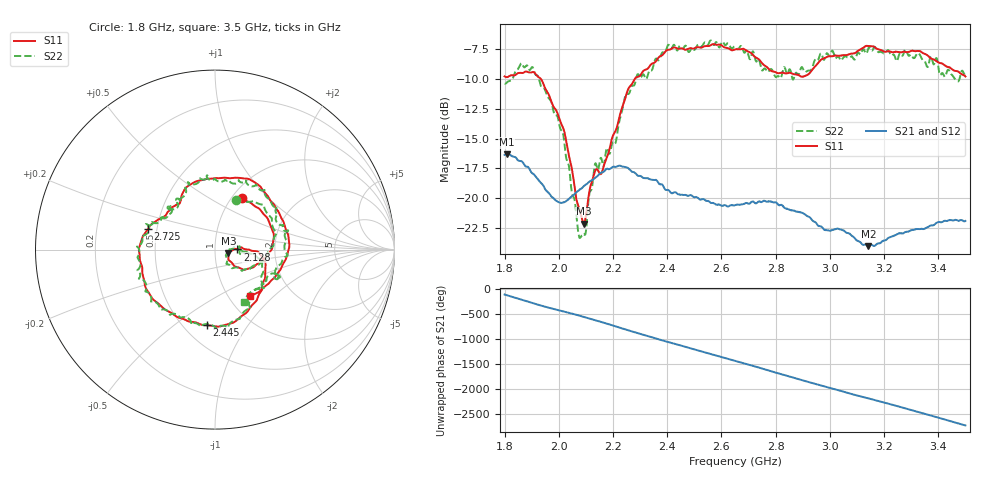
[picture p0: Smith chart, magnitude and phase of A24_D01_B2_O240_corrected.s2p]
! Created with skrf 1.9.0 (http://scikit-rf.org).
# Hz S RI R 50.0
!freq ReS11 ImS11 ReS21 ImS21 ReS12 ImS12 ReS22 ImS22
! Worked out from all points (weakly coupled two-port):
!   1601 points, 1.8 GHz to 3.5 GHz, reference 50 ohm
!   highest |S21| = -16.34 dB at 1.808 GHz (marker M1); lowest = -24.0 dB at 3.142 GHz (marker M2)
!   lowest |S11| = -22.2 dB at 2.092 GHz (marker M3), VSWR 1.17, Z = 58 - j2.51 ohm
!   |S11| at or under -10 dB: 1.934 GHz to 2.28 GHz (345.9 MHz wide, 16.4 % of centre)
!   |S22| runs from -23.4 to -6.8 dB; largest |S21 - S12| = 0.003
!   S11 on the Smith chart (normalised r, x): 1.8 GHz: 1.11, +0.71; 2.128 GHz: 1.28, +0.00; 2.445 GHz: 0.65, -0.67; 2.725 GHz: 0.45, +0.12; 3.5 GHz: 1.25, -0.72
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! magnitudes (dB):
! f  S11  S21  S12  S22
! 1.8 GHz  -9.8  -16.4  -16.4  -10.4
! 1.808 GHz  -9.8  -16.3  -16.4  -10.3
! 1.901 GHz  -9.4  -17.9  -17.8  -9.0
! 1.967 GHz  -11.5  -19.7  -19.8  -11.7
! 2.014 GHz  -14.0  -20.4  -20.4  -14.4
! 2.072 GHz  -20.7  -19.4  -19.4  -22.9
! 2.084 GHz  -21.6  -19.2  -19.1  -23.2
! 2.092 GHz  -22.2  -19.0  -19.1  -23.1
! 2.128 GHz  -18.1  -18.4  -18.4  -18.0
! 2.16 GHz  -17.8  -17.8  -17.8  -17.0
! 2.208 GHz  -14.4  -17.4  -17.4  -15.4
! 2.259 GHz  -10.7  -17.5  -17.6  -11.2
! 2.367 GHz  -8.2  -18.7  -18.7  -8.4
! 2.445 GHz  -7.4  -19.7  -19.7  -7.2
! 2.65 GHz  -7.5  -20.6  -20.6  -7.3
! 2.725 GHz  -8.2  -20.4  -20.4  -8.4
! 2.81 GHz  -9.5  -20.6  -20.5  -9.8
! 2.934 GHz  -9.3  -21.8  -21.8  -9.1
! 3.142 GHz  -7.2  -24.0  -23.9  -7.4
! 3.217 GHz  -7.7  -23.3  -23.3  -7.6
! 3.331 GHz  -7.7  -22.6  -22.6  -7.9
! 3.5 GHz  -9.8  -21.9  -21.9  -9.6
